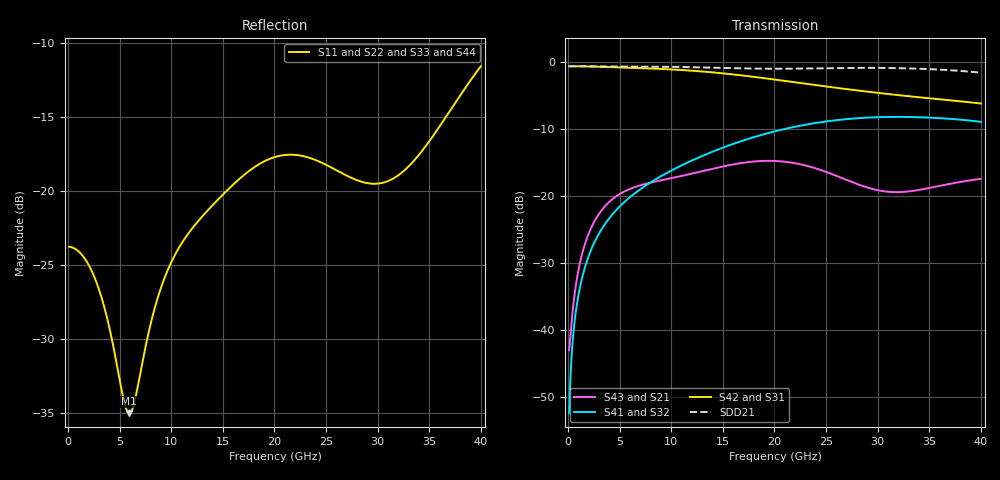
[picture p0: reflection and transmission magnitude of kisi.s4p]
! E_s8_L1L8_p800_round_g2: pair L1→L8, pitch 0.8 mm, two round antipads, 2 GND vias
! stackup: 8-layer 1.6 mm FR-4 (generic)
! ports: 1 P near, 2 N near, 3 P far, 4 N far
! kisi-fdtd, conformal, dfine 0.035 mm, 737685 cells
# Hz S RI R 50
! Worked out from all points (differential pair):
!   400 points, 100 MHz to 40 GHz, reference 50 ohm
!   strongest paths, dB at 100 MHz, 10.1 GHz, 20.1 GHz, 30.1 GHz, 40 GHz:
!     S42: -0.6, -1.1, -2.6, -4.6, -6.2
!     S31: -0.6, -1.1, -2.6, -4.6, -6.2
!     S41: -52.4, -16.1, -10.3, -8.2, -8.9
!     S32: -52.4, -16.1, -10.3, -8.2, -8.9
!     S43: -43.1, -17.3, -14.7, -19.1, -17.4
!     S21: -43.1, -17.3, -14.7, -19.1, -17.4
!   taken as a pair (ports 2,1 in; 4,3 out), SDD21 dB: -0.6, -0.7, -1.0, -0.8, -1.5
!   lowest |S11| = -35.0 dB at 5.9 GHz (marker M1), VSWR 1.04, Z = 48.7 + j1.14 ohm
!   |S11| at or under -10 dB: start of sweep to end of sweep
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1e8  -0.0649 0.00198  -0.00635 0.00304  0.9355 -0.036  0.00146 -0.00188
     -0.00635 0.00304  -0.0649 0.00198  0.00146 -0.00188  0.9355 -0.036
     0.9355 -0.036  0.00146 -0.00188  -0.0649 0.00198  -0.00635 0.00304
     0.00146 -0.00188  0.9355 -0.036  -0.00635 0.00304  -0.0649 0.00198
5.9e9  -0.0133 0.0117  0.0756 -0.0833  -0.5741 -0.708  -0.0653 0.0716
       0.0756 -0.0833  -0.0133 0.0117  -0.0653 0.0716  -0.5741 -0.708
       -0.5741 -0.708  -0.0653 0.0716  -0.0133 0.0117  0.0756 -0.0833
       -0.0653 0.0716  -0.5741 -0.708  0.0756 -0.0833  -0.0133 0.0117
1.22e10  0.0212 0.0733  -0.1479 0.0147  -0.0508 0.8625  0.186 -0.0258
         -0.1479 0.0147  0.0212 0.0733  0.186 -0.0258  -0.0508 0.8625
         -0.0508 0.8625  0.186 -0.0258  0.0212 0.0733  -0.1479 0.0147
         0.186 -0.0258  -0.0508 0.8625  -0.1479 0.0147  0.0212 0.0733
2.01e10  -0.0403 -0.1245  0.1832 0.00186  0.1508 -0.7269  -0.3024 0.0457
         0.1832 0.00186  -0.0403 -0.1245  -0.3024 0.0457  0.1508 -0.7269
         0.1508 -0.7269  -0.3024 0.0457  -0.0403 -0.1245  0.1832 0.00186
         -0.3024 0.0457  0.1508 -0.7269  0.1832 0.00186  -0.0403 -0.1245
2.87e10  -0.00673 0.1069  -0.1136 0.0322  -0.1012 0.5992  0.3271 -0.2033
         -0.1136 0.0322  -0.00673 0.1069  0.3271 -0.2033  -0.1012 0.5992
         -0.1012 0.5992  0.3271 -0.2033  -0.00673 0.1069  -0.1136 0.0322
         0.3271 -0.2033  -0.1012 0.5992  -0.1136 0.0322  -0.00673 0.1069
3.36e10  0.1211 0.0413  0.0898 0.0636  0.5511 -0.0354  -0.3307 -0.2062
         0.0898 0.0636  0.1211 0.0413  -0.3307 -0.2062  0.5511 -0.0354
         0.5511 -0.0354  -0.3307 -0.2062  0.1211 0.0413  0.0898 0.0636
         -0.3307 -0.2062  0.5511 -0.0354  0.0898 0.0636  0.1211 0.0413
4e10  0.0515 -0.26  -0.1088 -0.0798  -0.3837 -0.3087  0.1762 0.3132
      -0.1088 -0.0798  0.0515 -0.26  0.1762 0.3132  -0.3837 -0.3087
      -0.3837 -0.3087  0.1762 0.3132  0.0515 -0.26  -0.1088 -0.0798
      0.1762 0.3132  -0.3837 -0.3087  -0.1088 -0.0798  0.0515 -0.26
